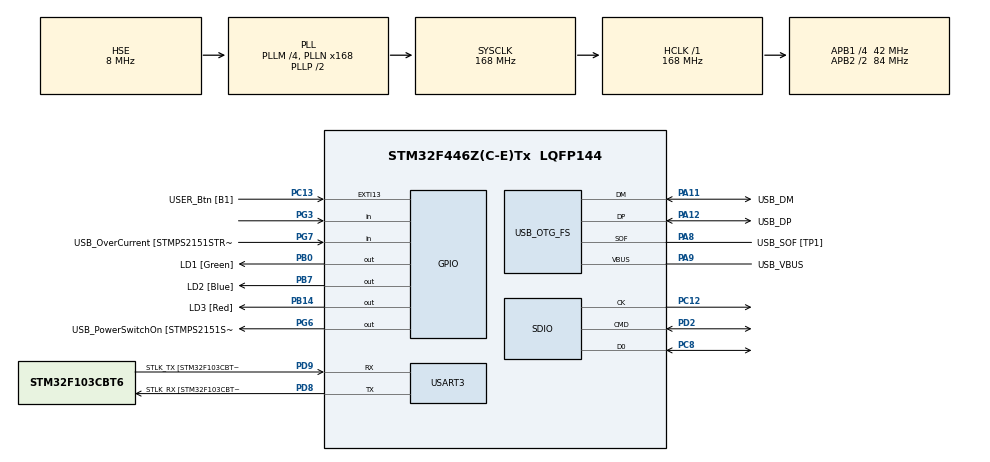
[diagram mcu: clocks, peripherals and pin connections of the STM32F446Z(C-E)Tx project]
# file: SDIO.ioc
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Dma.Request0=SDIO_RX
Dma.Request1=SDIO_TX
Dma.SDIO_RX.0.Direction=DMA_PERIPH_TO_MEMORY
Dma.SDIO_RX.0.FIFOMode=DMA_FIFOMODE_ENABLE
Dma.SDIO_RX.0.FIFOThreshold=DMA_FIFO_THRESHOLD_FULL
Dma.SDIO_RX.0.Instance=DMA2_Stream3
Dma.SDIO_RX.0.MemBurst=DMA_MBURST_INC4
Dma.SDIO_RX.0.MemDataAlignment=DMA_MDATAALIGN_WORD
Dma.SDIO_RX.0.MemInc=DMA_MINC_ENABLE
Dma.SDIO_RX.0.Mode=DMA_PFCTRL
Dma.SDIO_RX.0.PeriphBurst=DMA_PBURST_INC4
Dma.SDIO_RX.0.PeriphDataAlignment=DMA_PDATAALIGN_WORD
Dma.SDIO_RX.0.PeriphInc=DMA_PINC_DISABLE
Dma.SDIO_RX.0.Priority=DMA_PRIORITY_LOW
Dma.SDIO_TX.1.Direction=DMA_MEMORY_TO_PERIPH
Dma.SDIO_TX.1.FIFOMode=DMA_FIFOMODE_ENABLE
Dma.SDIO_TX.1.FIFOThreshold=DMA_FIFO_THRESHOLD_FULL
Dma.SDIO_TX.1.Instance=DMA2_Stream6
Dma.SDIO_TX.1.MemBurst=DMA_MBURST_INC4
Dma.SDIO_TX.1.MemDataAlignment=DMA_MDATAALIGN_WORD
Dma.SDIO_TX.1.MemInc=DMA_MINC_ENABLE
Dma.SDIO_TX.1.Mode=DMA_PFCTRL
Dma.SDIO_TX.1.PeriphBurst=DMA_PBURST_INC4
Dma.SDIO_TX.1.PeriphDataAlignment=DMA_PDATAALIGN_WORD
Dma.SDIO_TX.1.PeriphInc=DMA_PINC_DISABLE
Dma.SDIO_TX.1.Priority=DMA_PRIORITY_LOW
FATFS.BSP.number=1
FATFS._MAX_SS=4096
FATFS._USE_LFN=3
FATFS0.BSP.STBoard=false
FATFS0.BSP.api=Unknown
FATFS0.BSP.instance=PG3
FATFS0.BSP.ip=GPIO
FATFS0.BSP.mode=Input
FATFS0.BSP.name=Detect_SDIO
FATFS0.BSP.solution=PG3
FREERTOS.Tasks01=defaultTask,24,128,StartDefaultTask,Default,NULL,Dynamic,NULL,NULL
FREERTOS.configENABLE_FPU=1
FREERTOS.configUSE_NEWLIB_REENTRANT=1
Mcu.Family=STM32F4
Mcu.Name=STM32F446Z(C-E)Tx
Mcu.Package=LQFP144
NVIC.DMA2_Stream3_IRQn=true\:5\:0\:false\:false\:true\:true\:false\:true\:true
NVIC.DMA2_Stream6_IRQn=true\:5\:0\:false\:false\:true\:true\:false\:true\:true
NVIC.PriorityGroup=NVIC_PRIORITYGROUP_4
NVIC.SDIO_IRQn=true\:5\:0\:false\:false\:true\:true\:true\:true\:true
NVIC.TIM8_BRK_TIM12_IRQn=true\:5\:0\:false\:false\:true\:true\:true\:true\:true
NVIC.TIM8_CC_IRQn=true\:5\:0\:false\:false\:true\:true\:true\:true\:true
NVIC.TIM8_TRG_COM_TIM14_IRQn=true\:5\:0\:false\:false\:true\:true\:true\:true\:true
NVIC.TIM8_UP_TIM13_IRQn=true\:5\:0\:false\:false\:true\:true\:true\:true\:true
PA10.GPIO_Label=USB_ID
PA10.Signal=USB_OTG_FS_ID
PA11.GPIO_Label=USB_DM
PA11.Mode=Device_Only
PA11.Signal=USB_OTG_FS_DM
PA12.GPIO_Label=USB_DP
PA12.Mode=Device_Only
PA12.Signal=USB_OTG_FS_DP
PA13.GPIO_Label=TMS
PA13.Mode=Serial_Wire
PA13.Signal=SYS_JTMS-SWDIO
PA14.GPIO_Label=TCK
PA14.Mode=Serial_Wire
PA14.Signal=SYS_JTCK-SWCLK
PA8.GPIO_Label=USB_SOF [TP1]
PA8.Mode=Activate_SOF_FS
PA8.Signal=USB_OTG_FS_SOF
PA9.GPIO_Label=USB_VBUS
PA9.Mode=Activate_VBUS
PA9.Signal=USB_OTG_FS_VBUS
PB0.GPIO_Label=LD1 [Green]
PB0.Signal=GPIO_Output
PB14.GPIO_Label=LD3 [Red]
PB14.Signal=GPIO_Output
PB7.GPIO_Label=LD2 [Blue]
PB7.Signal=GPIO_Output
PC10.GPIO_PuPd=GPIO_PULLUP
PC10.Signal=SDIO_D2
PC12.Mode=SD_1_bit
PC12.Signal=SDIO_CK
PC13.GPIO_Label=USER_Btn [B1]
PC13.Signal=GPXTI13
PC14-OSC32_IN.Mode=LSE-External-Oscillator
PC14-OSC32_IN.Signal=RCC_OSC32_IN
PC15-OSC32_OUT.Mode=LSE-External-Oscillator
PC15-OSC32_OUT.Signal=RCC_OSC32_OUT
PC8.GPIO_PuPd=GPIO_PULLUP
PC8.Mode=SD_1_bit
PC8.Signal=SDIO_D0
PD2.GPIO_PuPd=GPIO_PULLUP
PD2.Mode=SD_1_bit
PD2.Signal=SDIO_CMD
PD8.GPIO_Label=STLK_RX [STM32F103CBT6_PA3]
PD8.Mode=Asynchronous
PD8.Signal=USART3_TX
PD9.GPIO_Label=STLK_TX [STM32F103CBT6_PA2]
PD9.Mode=Asynchronous
PD9.Signal=USART3_RX
PG3.Signal=GPIO_Input
PG6.GPIO_Label=USB_PowerSwitchOn [STMPS2151STR_EN]
PG6.Signal=GPIO_Output
PG7.GPIO_Label=USB_OverCurrent [STMPS2151STR_FAULT]
PG7.Signal=GPIO_Input
PH0-OSC_IN.GPIO_Label=MCO [STM32F103CBT6_PA8]
PH0-OSC_IN.Mode=HSE-External-Clock-Source
PH0-OSC_IN.Signal=RCC_OSC_IN
PH1-OSC_OUT.Mode=HSE-External-Clock-Source
PH1-OSC_OUT.Signal=RCC_OSC_OUT
ProjectManager.HeapSize=0x200
ProjectManager.StackSize=0x400
ProjectManager.TargetToolchain=STM32CubeIDE
RCC.48MHZClocksFreq_Value=24000000
RCC.AHBFreq_Value=168000000
RCC.APB1CLKDivider=RCC_HCLK_DIV4
RCC.APB1Freq_Value=42000000
RCC.APB1TimFreq_Value=84000000
RCC.APB2CLKDivider=RCC_HCLK_DIV2
RCC.APB2Freq_Value=84000000
RCC.APB2TimFreq_Value=168000000
RCC.CortexFreq_Value=168000000
RCC.HCLKFreq_Value=168000000
RCC.HSE_VALUE=8000000
RCC.HSI_VALUE=16000000
RCC.PLLM=4
RCC.PLLMUL=RCC_PLL_MUL9
RCC.PLLN=168
RCC.PLLQ=7
RCC.PRESCALERUSB=RCC_USBCLKSOURCE_PLL_DIV1_5
RCC.SYSCLKFreq_VALUE=168000000
RCC.SYSCLKSource=RCC_SYSCLKSOURCE_PLLCLK
RCC.SYSCLKSourceVirtual=RCC_SYSCLKSOURCE_PLLCLK
RCC.USBFreq_Value=48000000
RCC.VCOOutputFreq_Value=336000000
SDIO.ClockDiv=32
TIM8.Period=1000
TIM8.Prescaler=96-1
USART3.VirtualMode=VM_ASYNC
USB_OTG_FS.VirtualMode=Device_Only
VP_FATFS_VS_SDIO.Mode=SDIO
VP_FREERTOS_VS_CMSIS_V2.Mode=CMSIS_V2
VP_TIM8_VS_ClockSourceINT.Mode=Internal
board=NUCLEO-F446ZE

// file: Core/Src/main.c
/* USER CODE BEGIN Header */
/**
  ******************************************************************************
  * @file           : main.c
  * @brief          : Main program body
  ******************************************************************************
  * @attention
  *
  * Copyright (c) 2024 STMicroelectronics.
  * All rights reserved.
  *
  * This software is licensed under terms that can be found in the LICENSE file
  * in the root directory of this software component.
  * If no LICENSE file comes with this software, it is provided AS-IS.
  *
  ******************************************************************************
  */
/* USER CODE END Header */
#include "main.h"
#include "cmsis_os.h"
#include "fatfs.h"

/* USER CODE BEGIN Includes */
#include <string.h>
#include <stdio.h>
//#include "../Inc/fatfs_sd.h"
//#include "../Inc/fatfs_funcoes_auxiliares.h"

/* USER CODE END Includes */

SD_HandleTypeDef hsd;
DMA_HandleTypeDef hdma_sdio_rx;
DMA_HandleTypeDef hdma_sdio_tx;

TIM_HandleTypeDef htim8;

UART_HandleTypeDef huart3;

PCD_HandleTypeDef hpcd_USB_OTG_FS;

/* Definitions for defaultTask */
osThreadId_t defaultTaskHandle;
const osThreadAttr_t defaultTask_attributes = {
  .name = "defaultTask",
  .stack_size = 128 * 4,
  .priority = (osPriority_t) osPriorityNormal,
};
/* USER CODE BEGIN PV */
//FATFS FatFs;
uint8_t buffer[2000];

/* USER CODE END PV */

void SystemClock_Config(void);
static void MX_GPIO_Init(void);
static void MX_DMA_Init(void);
static void MX_USART3_UART_Init(void);
static void MX_USB_OTG_FS_PCD_Init(void);
static void MX_SDIO_SD_Init(void);
static void MX_TIM8_Init(void);
void StartDefaultTask(void *argument);

/* USER CODE BEGIN 0 */

static void SDIO_SDCard_Test(void)
{
	uint8_t buffer[200];
	FATFS FatFs;
	FIL Fil;
	FRESULT FR_Status;
	FATFS *FS_Ptr;
	UINT RWC, WWC; // Read/Write Word Counter
	DWORD FreeClusters;
	uint32_t TotalSize, FreeSpace;
	char RW_Buffer[100];
  do
  {
    //------------------[ Mount The SD Card ]--------------------
    FR_Status = f_mount(&FatFs, SDPath, 1);
    if (FR_Status != FR_OK)
    {
    	sprintf((char *)buffer,"Error! While Mounting SD Card, Error Code: (%i)\r\n",FR_Status);
    	HAL_UART_Transmit(&huart3, buffer, sizeof(buffer), 100);
    	break;
    }

    sprintf((char *)buffer, "SD Card Mounted Successfully! \r\n\n");
    HAL_UART_Transmit(&huart3, buffer, sizeof(buffer), 100);

    //------------------[ Get & Print The SD Card Size & Free Space ]--------------------
    f_getfree("", &FreeClusters, &FS_Ptr);
    TotalSize = (uint32_t)((FS_Ptr->n_fatent - 2) * FS_Ptr->csize * 0.5);
    FreeSpace = (uint32_t)(FreeClusters * FS_Ptr->csize * 0.5);
    sprintf((char *)buffer, "Total SD Card Size: %lu Bytes\r\n", TotalSize);
    HAL_UART_Transmit(&huart3, buffer, sizeof(buffer), 100);
    sprintf((char *)buffer, "Free SD Card Space: %lu Bytes\r\n\n", FreeSpace);
    HAL_UART_Transmit(&huart3, buffer, sizeof(buffer), 100);
    //------------------[ Open A Text File For Write & Write Data ]--------------------
    //Open the file
    FR_Status = f_open(&Fil, "MyTextFile.txt", FA_WRITE | FA_READ | FA_CREATE_ALWAYS);
    if(FR_Status != FR_OK)
    {
      sprintf((char *)buffer, "Error! While Creating/Opening A New Text File, Error Code: (%i)\r\n", FR_Status);
      HAL_UART_Transmit(&huart3, buffer, sizeof(buffer), 100);
      break;
    }
    sprintf((char *)buffer, "Text File Created & Opened! Writing Data To The Text File..\r\n\n");
    HAL_UART_Transmit(&huart3, buffer, sizeof(buffer), 100);
    // (1) Write Data To The Text File [ Using f_puts() Function ]
    f_puts("Hello! From STM32 To SD Card Over SDIO, Using f_puts()\n", &Fil);
    // (2) Write Data To The Text File [ Using f_write() Function ]
    strcpy(RW_Buffer, "Hello! From STM32 To SD Card Over SDIO, Using f_write()\r\n");
    f_write(&Fil, RW_Buffer, strlen(RW_Buffer), &WWC);
    // Close The File
    f_close(&Fil);
    //------------------[ Open A Text File For Read & Read Its Data ]--------------------
    // Open The File
    FR_Status = f_open(&Fil, "MyTextFile.txt", FA_READ);
    if(FR_Status != FR_OK)
    {
      sprintf((char *)buffer, "Error! While Opening (MyTextFile.txt) File For Read.. \r\n");
      HAL_UART_Transmit(&huart3, buffer, sizeof(buffer), 100);
      break;
    }
    // (1) Read The Text File's Data [ Using f_gets() Function ]
    f_gets(RW_Buffer, sizeof(RW_Buffer), &Fil);
    sprintf((char *)buffer, "Data Read From (MyTextFile.txt) Using f_gets():%s", RW_Buffer);
    HAL_UART_Transmit(&huart3, buffer, sizeof(buffer), 100);
    // (2) Read The Text File's Data [ Using f_read() Function ]
    f_read(&Fil, RW_Buffer, f_size(&Fil), &RWC);
    sprintf((char *)buffer, "Data Read From (MyTextFile.txt) Using f_read():%s", RW_Buffer);
    HAL_UART_Transmit(&huart3, buffer, sizeof(buffer), 100);
    // Close The File
    f_close(&Fil);
    sprintf((char *)buffer, "File Closed! \r\n\n");
    HAL_UART_Transmit(&huart3, buffer, sizeof(buffer), 100);
    //------------------[ Open An Existing Text File, Update Its Content, Read It Back ]--------------------
    // (1) Open The Existing File For Write (Update)
    FR_Status = f_open(&Fil, "MyTextFile.txt", FA_OPEN_EXISTING | FA_WRITE);
    FR_Status = f_lseek(&Fil, f_size(&Fil)); // Move The File Pointer To The EOF (End-Of-File)
    if(FR_Status != FR_OK)
    {
      sprintf((char *)buffer, "Error! While Opening (MyTextFile.txt) File For Update.. \r\n");
      HAL_UART_Transmit(&huart3, buffer, sizeof(buffer), 100);
      break;
    }
    // (2) Write New Line of Text Data To The File
    FR_Status = f_puts("This New Line Was Added During File Update!\r\n", &Fil);
    f_close(&Fil);
    //memset(RW_Buffer,'\0',sizeof(RW_Buffer)); // Clear The Buffer
    RW_Buffer[0] = '\0';
    // (3) Read The Contents of The Text File After The Update
    FR_Status = f_open(&Fil, "MyTextFile.txt", FA_READ); // Open The File For Read
    f_read(&Fil, RW_Buffer, f_size(&Fil), &RWC);
    sprintf((char *)buffer, "Data Read From (MyTextFile.txt) After Update:\r\n%s", RW_Buffer);
    HAL_UART_Transmit(&huart3, buffer, sizeof(buffer), 100);
    f_close(&Fil);
    //------------------[ Delete The Text File ]--------------------
    // Delete The File
    /*
    FR_Status = f_unlink(MyTextFile.txt);
    if (FR_Status != FR_OK){
        sprintf(TxBuffer, "Error! While Deleting The (MyTextFile.txt) File.. \r\n");
        USC_CDC_Print(TxBuffer);
    }
    */
  } while(0);
  //------------------[ Test Complete! Unmount The SD Card ]--------------------
  FR_Status = f_mount(NULL, "", 0);
  if (FR_Status != FR_OK)
  {
      sprintf((char *)buffer, "\r\nError! While Un-mounting SD Card, Error Code: (%i)\r\n", FR_Status);
      HAL_UART_Transmit(&huart3, buffer, sizeof(buffer), 100);
  } else{
      sprintf((char *)buffer, "\r\nSD Card Un-mounted Successfully! \r\n");
      HAL_UART_Transmit(&huart3, buffer, sizeof(buffer), 100);
  }
}

/* USER CODE END 0 */

int main(void)
{

  /* MCU Configuration--------------------------------------------------------*/

  /* Reset of all peripherals, Initializes the Flash interface and the Systick. */
  HAL_Init();

  /* Configure the system clock */
  SystemClock_Config();

  /* Initialize all configured peripherals */
  MX_GPIO_Init();
  MX_DMA_Init();
  MX_USART3_UART_Init();
  MX_USB_OTG_FS_PCD_Init();
  MX_SDIO_SD_Init();
  MX_FATFS_Init();
  MX_TIM8_Init();
  /* USER CODE BEGIN 2 */
// FIL myFile;
// UINT bytesWritten;
//
//  if (f_open(&myFile, "test.txt", FA_CREATE_ALWAYS | FA_WRITE) == FR_OK) {
//      f_write(&myFile, "Hello, STM32!", 13, &bytesWritten);
//      f_close(&myFile);
//  }
//
//  if (f_open(&myFile, "test.txt", FA_READ) == FR_OK) {
//      char buffer[20];
//      UINT bytesRead;
//      f_read(&myFile, buffer, 13, &bytesRead);
//      buffer[bytesRead] = '\0';
//      printf("Read: %s\n", buffer);
//      f_close(&myFile);
//  }

//  if(HAL_GPIO_ReadPin(GPIOG, GPIO_PIN_3)){
//	  sprintf((char *)buffer,"O pin esta set\r\n");
//	  HAL_UART_Transmit(&huart3, buffer, sizeof(buffer), 100);
//  }
//  else {
//	  sprintf((char *)buffer,"O pin NAO esta set\r\n");
//	  HAL_UART_Transmit(&huart3, buffer, sizeof(buffer), 100);
//  }
//
//  FRESULT res = f_mount(&SDFatFS, SDPath, 1);
//  if(res != FR_OK){
//	  HAL_GPIO_TogglePin(LD1_GPIO_Port, LD1_Pin);
//	  sprintf((char *)buffer,"Error! While Mounting SD Card, Error Code: (%i)\r\n",res);
//  	  HAL_UART_Transmit(&huart3, buffer, sizeof(buffer), 100);
//  	  HAL_GPIO_TogglePin(LD1_GPIO_Port, LD1_Pin);
//  }
//  else if(res == FR_OK){
//	  HAL_GPIO_TogglePin(LD2_GPIO_Port, LD2_Pin);
//	  sprintf((char *)buffer,"Mounted Success\r\n");
//	  HAL_UART_Transmit(&huart3, buffer, sizeof(buffer), 100);
//	  res = f_open(&SDFile,"test.txt", FA_WRITE | FA_OPEN_ALWAYS);
//
//	  if(res == FR_OK){
//		  sprintf((char *)buffer,"mount success\r\n");
//		  HAL_UART_Transmit(&huart3, buffer, sizeof(buffer), 100);
//		  f_write(&myFile, "Hello, STM32!", 13, &bytesWritten);
//		  f_close(&myFile);
//	  }
//	  HAL_Delay(100);
//	  HAL_GPIO_TogglePin(LD2_GPIO_Port, LD2_Pin);
//  }
//  if(HAL_GPIO_ReadPin(GPIOG, GPIO_PIN_3)){
//	  sprintf((char *)buffer,"O pin esta set\r\n");
//	  HAL_UART_Transmit(&huart3, buffer, sizeof(buffer), 100);
//  }
//  else {
//	  sprintf((char *)buffer,"O pin NAO esta set\r\n");
//	  HAL_UART_Transmit(&huart3, buffer, sizeof(buffer), 100);
//}

  SDIO_SDCard_Test();

  /* USER CODE END 2 */

  /* Init scheduler */
  osKernelInitialize();

  /* Create the thread(s) */
  /* creation of defaultTask */
  defaultTaskHandle = osThreadNew(StartDefaultTask, NULL, &defaultTask_attributes);

  /* Start scheduler */
  osKernelStart();

  /* We should never get here as control is now taken by the scheduler */

  /* Infinite loop */
  while (1)
  {

    /* USER CODE BEGIN 3 */
	  //SDIO_SDCard_Test();
	  //HAL_Delay(1000);
  }
  /* USER CODE END 3 */
}

void SystemClock_Config(void)
{
  RCC_OscInitTypeDef RCC_OscInitStruct = {0};
  RCC_ClkInitTypeDef RCC_ClkInitStruct = {0};

  /** Configure the main internal regulator output voltage
  */
  __HAL_RCC_PWR_CLK_ENABLE();
  __HAL_PWR_VOLTAGESCALING_CONFIG(PWR_REGULATOR_VOLTAGE_SCALE1);

  /** Initializes the RCC Oscillators according to the specified parameters
  * in the RCC_OscInitTypeDef structure.
  */
  RCC_OscInitStruct.OscillatorType = RCC_OSCILLATORTYPE_HSE;
  RCC_OscInitStruct.HSEState = RCC_HSE_BYPASS;
  RCC_OscInitStruct.PLL.PLLState = RCC_PLL_ON;
  RCC_OscInitStruct.PLL.PLLSource = RCC_PLLSOURCE_HSE;
  RCC_OscInitStruct.PLL.PLLM = 4;
  RCC_OscInitStruct.PLL.PLLN = 168;
  RCC_OscInitStruct.PLL.PLLP = RCC_PLLP_DIV2;
  RCC_OscInitStruct.PLL.PLLQ = 7;
  RCC_OscInitStruct.PLL.PLLR = 2;
  if (HAL_RCC_OscConfig(&RCC_OscInitStruct) != HAL_OK)
  {
    Error_Handler();
  }

  /** Initializes the CPU, AHB and APB buses clocks
  */
  RCC_ClkInitStruct.ClockType = RCC_CLOCKTYPE_HCLK|RCC_CLOCKTYPE_SYSCLK
                              |RCC_CLOCKTYPE_PCLK1|RCC_CLOCKTYPE_PCLK2;
  RCC_ClkInitStruct.SYSCLKSource = RCC_SYSCLKSOURCE_PLLCLK;
  RCC_ClkInitStruct.AHBCLKDivider = RCC_SYSCLK_DIV1;
  RCC_ClkInitStruct.APB1CLKDivider = RCC_HCLK_DIV4;
  RCC_ClkInitStruct.APB2CLKDivider = RCC_HCLK_DIV2;

  if (HAL_RCC_ClockConfig(&RCC_ClkInitStruct, FLASH_LATENCY_5) != HAL_OK)
  {
    Error_Handler();
  }
}

static void MX_SDIO_SD_Init(void)
{

  hsd.Instance = SDIO;
  hsd.Init.ClockEdge = SDIO_CLOCK_EDGE_RISING;
  hsd.Init.ClockBypass = SDIO_CLOCK_BYPASS_DISABLE;
  hsd.Init.ClockPowerSave = SDIO_CLOCK_POWER_SAVE_DISABLE;
  hsd.Init.BusWide = SDIO_BUS_WIDE_1B;
  hsd.Init.HardwareFlowControl = SDIO_HARDWARE_FLOW_CONTROL_DISABLE;
  hsd.Init.ClockDiv = 32;

}

static void MX_TIM8_Init(void)
{

  TIM_ClockConfigTypeDef sClockSourceConfig = {0};
  TIM_MasterConfigTypeDef sMasterConfig = {0};

  htim8.Instance = TIM8;
  htim8.Init.Prescaler = 96-1;
  htim8.Init.CounterMode = TIM_COUNTERMODE_UP;
  htim8.Init.Period = 1000;
  htim8.Init.ClockDivision = TIM_CLOCKDIVISION_DIV1;
  htim8.Init.RepetitionCounter = 0;
  htim8.Init.AutoReloadPreload = TIM_AUTORELOAD_PRELOAD_DISABLE;
  if (HAL_TIM_Base_Init(&htim8) != HAL_OK)
  {
    Error_Handler();
  }
  sClockSourceConfig.ClockSource = TIM_CLOCKSOURCE_INTERNAL;
  if (HAL_TIM_ConfigClockSource(&htim8, &sClockSourceConfig) != HAL_OK)
  {
    Error_Handler();
  }
  sMasterConfig.MasterOutputTrigger = TIM_TRGO_RESET;
  sMasterConfig.MasterSlaveMode = TIM_MASTERSLAVEMODE_DISABLE;
  if (HAL_TIMEx_MasterConfigSynchronization(&htim8, &sMasterConfig) != HAL_OK)
  {
    Error_Handler();
  }

}

static void MX_USART3_UART_Init(void)
{

  huart3.Instance = USART3;
  huart3.Init.BaudRate = 115200;
  huart3.Init.WordLength = UART_WORDLENGTH_8B;
  huart3.Init.StopBits = UART_STOPBITS_1;
  huart3.Init.Parity = UART_PARITY_NONE;
  huart3.Init.Mode = UART_MODE_TX_RX;
  huart3.Init.HwFlowCtl = UART_HWCONTROL_NONE;
  huart3.Init.OverSampling = UART_OVERSAMPLING_16;
  if (HAL_UART_Init(&huart3) != HAL_OK)
  {
    Error_Handler();
  }

}

static void MX_USB_OTG_FS_PCD_Init(void)
{

  hpcd_USB_OTG_FS.Instance = USB_OTG_FS;
  hpcd_USB_OTG_FS.Init.dev_endpoints = 6;
  hpcd_USB_OTG_FS.Init.speed = PCD_SPEED_FULL;
  hpcd_USB_OTG_FS.Init.dma_enable = DISABLE;
  hpcd_USB_OTG_FS.Init.phy_itface = PCD_PHY_EMBEDDED;
  hpcd_USB_OTG_FS.Init.Sof_enable = ENABLE;
  hpcd_USB_OTG_FS.Init.low_power_enable = DISABLE;
  hpcd_USB_OTG_FS.Init.lpm_enable = DISABLE;
  hpcd_USB_OTG_FS.Init.vbus_sensing_enable = ENABLE;
  hpcd_USB_OTG_FS.Init.use_dedicated_ep1 = DISABLE;
  if (HAL_PCD_Init(&hpcd_USB_OTG_FS) != HAL_OK)
  {
    Error_Handler();
  }

}

static void MX_DMA_Init(void)
{

  /* DMA controller clock enable */
  __HAL_RCC_DMA2_CLK_ENABLE();

  /* DMA interrupt init */
  /* DMA2_Stream3_IRQn interrupt configuration */
  HAL_NVIC_SetPriority(DMA2_Stream3_IRQn, 5, 0);
  HAL_NVIC_EnableIRQ(DMA2_Stream3_IRQn);
  /* DMA2_Stream6_IRQn interrupt configuration */
  HAL_NVIC_SetPriority(DMA2_Stream6_IRQn, 5, 0);
  HAL_NVIC_EnableIRQ(DMA2_Stream6_IRQn);

}

static void MX_GPIO_Init(void)
{
  GPIO_InitTypeDef GPIO_InitStruct = {0};

  /* GPIO Ports Clock Enable */
  __HAL_RCC_GPIOC_CLK_ENABLE();
  __HAL_RCC_GPIOH_CLK_ENABLE();
  __HAL_RCC_GPIOB_CLK_ENABLE();
  __HAL_RCC_GPIOD_CLK_ENABLE();
  __HAL_RCC_GPIOG_CLK_ENABLE();
  __HAL_RCC_GPIOA_CLK_ENABLE();

  /*Configure GPIO pin Output Level */
  HAL_GPIO_WritePin(GPIOB, LD1_Pin|LD3_Pin|LD2_Pin, GPIO_PIN_RESET);

  /*Configure GPIO pin Output Level */
  HAL_GPIO_WritePin(USB_PowerSwitchOn_GPIO_Port, USB_PowerSwitchOn_Pin, GPIO_PIN_RESET);

  /*Configure GPIO pin : USER_Btn_Pin */
  GPIO_InitStruct.Pin = USER_Btn_Pin;
  GPIO_InitStruct.Mode = GPIO_MODE_IT_RISING;
  GPIO_InitStruct.Pull = GPIO_NOPULL;
  HAL_GPIO_Init(USER_Btn_GPIO_Port, &GPIO_InitStruct);

  /*Configure GPIO pins : LD1_Pin LD3_Pin LD2_Pin */
  GPIO_InitStruct.Pin = LD1_Pin|LD3_Pin|LD2_Pin;
  GPIO_InitStruct.Mode = GPIO_MODE_OUTPUT_PP;
  GPIO_InitStruct.Pull = GPIO_NOPULL;
  GPIO_InitStruct.Speed = GPIO_SPEED_FREQ_LOW;
  HAL_GPIO_Init(GPIOB, &GPIO_InitStruct);

  /*Configure GPIO pins : PG3 USB_OverCurrent_Pin */
  GPIO_InitStruct.Pin = GPIO_PIN_3|USB_OverCurrent_Pin;
  GPIO_InitStruct.Mode = GPIO_MODE_INPUT;
  GPIO_InitStruct.Pull = GPIO_NOPULL;
  HAL_GPIO_Init(GPIOG, &GPIO_InitStruct);

  /*Configure GPIO pin : USB_PowerSwitchOn_Pin */
  GPIO_InitStruct.Pin = USB_PowerSwitchOn_Pin;
  GPIO_InitStruct.Mode = GPIO_MODE_OUTPUT_PP;
  GPIO_InitStruct.Pull = GPIO_NOPULL;
  GPIO_InitStruct.Speed = GPIO_SPEED_FREQ_LOW;
  HAL_GPIO_Init(USB_PowerSwitchOn_GPIO_Port, &GPIO_InitStruct);

}

void StartDefaultTask(void *argument)
{
  for(;;)
  {
    osDelay(1);
  }
}

void Error_Handler(void)
{
  __disable_irq();
  while (1)
  {
  }
}
